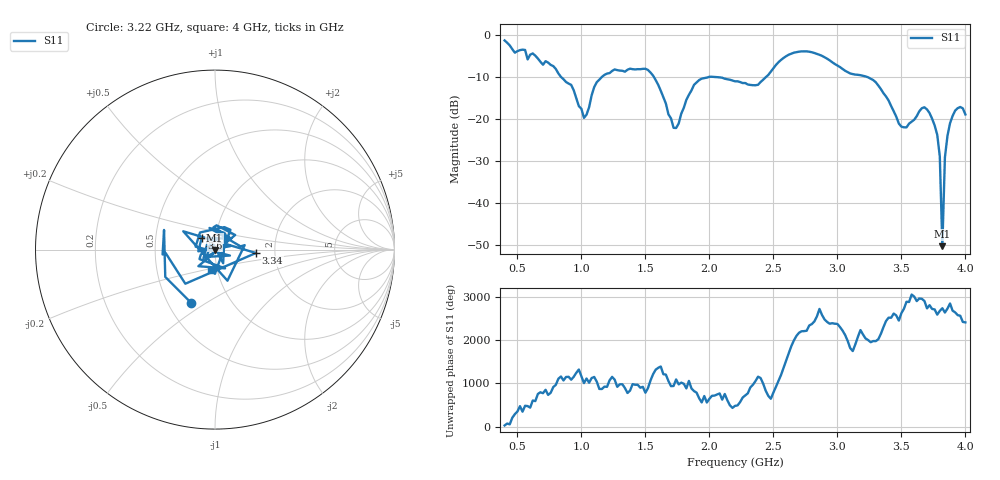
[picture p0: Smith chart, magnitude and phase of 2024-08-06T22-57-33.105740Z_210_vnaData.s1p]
!Created with skrf (http://scikit-rf.org).
# Hz S RI R 50.0
!freq ReS11 ImS11
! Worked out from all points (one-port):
!   181 points, 400 MHz to 4 GHz, reference 50 ohm
!   lowest |S11| = -50.3 dB at 3.82 GHz (marker M1), VSWR 1.01, Z = 49.8 - j0.225 ohm
!   |S11| at or under -10 dB: 1.568 GHz to 1.987 GHz (419.3 MHz wide, 23.6 % of centre); 2.077 GHz to 2.439 GHz (362.2 MHz wide, 16 % of centre); 3.24 GHz to end of sweep (the widest 3 of 4)
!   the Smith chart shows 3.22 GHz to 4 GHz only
!   S11 on the Smith chart (normalised r, x): 3.22 GHz: 0.65, -0.43; 3.34 GHz: 1.59, -0.06; 3.6 GHz: 0.85, +0.11; 4 GHz: 0.93, -0.21
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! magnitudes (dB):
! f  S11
! 400 MHz  -1.2
! 860 MHz  -10.5
! 920 MHz  -11.8
! 1.02 GHz  -19.7
! 1.12 GHz  -11.2
! 1.3 GHz  -8.4
! 1.52 GHz  -8.2
! 1.6 GHz  -11.8
! 1.72 GHz  -22.0
! 1.76 GHz  -21.0
! 1.92 GHz  -10.6
! 2.2 GHz  -11.0
! 2.38 GHz  -11.8
! 2.66 GHz  -4.1
! 3.1 GHz  -9.1
! 3.22 GHz  -9.8
! 3.34 GHz  -12.8
! 3.48 GHz  -21.0
! 3.56 GHz  -21.0
! 3.6 GHz  -20.1
! 3.68 GHz  -17.2
! 3.78 GHz  -23.7
! 3.8 GHz  -28.9
! 3.82 GHz  -50.3
! 3.84 GHz  -29.1
! 3.86 GHz  -24.0
! 3.92 GHz  -17.9
! 4 GHz  -18.9
